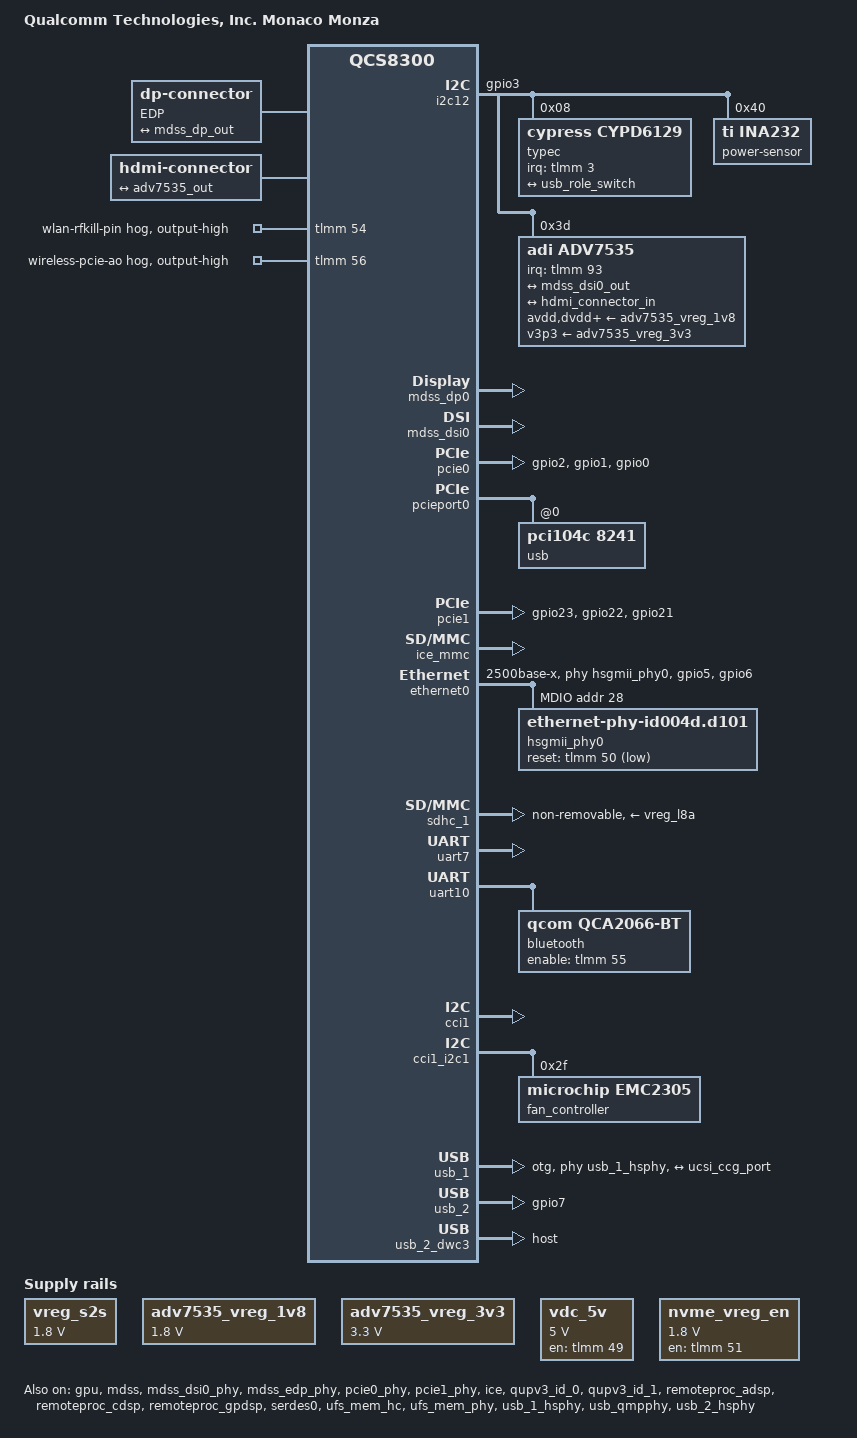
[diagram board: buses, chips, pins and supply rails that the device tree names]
// SPDX-License-Identifier: BSD-3-Clause
/*
 * Copyright (c) Qualcomm Technologies, Inc. and/or its subsidiaries.
 */

/dts-v1/;

#include <dt-bindings/regulator/qcom,rpmh-regulator.h>
#include <dt-bindings/spmi/spmi.h>
#include <dt-bindings/gpio/gpio.h>
#include <dt-bindings/pwm/pwm.h>
#include "qcs8300.dtsi"
#include "qcs8300-thermal.dtsi"
#include "qcs8300-pmics.dtsi"

/delete-node/ &usb_1_dwc3;
/ {
	model = "Qualcomm Technologies, Inc. Monaco Monza";
	compatible = "arduino,monza", "qcom,monaco-monza", "qcom,qcs8300";

	qcom,msm-id = <675 0x10000>;
	qcom,board-id = <0x00010020 4>, <0x00010019 4>;

	aliases {
		ethernet0 = &ethernet0;
		serial0 = &uart7;
		serial1 = &uart10;
		i2c12 = &i2c12;
	};

	chosen {
		stdout-path = "serial0:115200n8";
	};

	vreg_s2s: vreg-s2s {
		compatible = "regulator-fixed";
		regulator-name = "vreg_s2s";

		regulator-min-microvolt = <1800000>;
		regulator-max-microvolt = <1800000>;
	};

	adv7535_vreg_1v8: adv7535_1v8_regulstor {
		compatible = "regulator-fixed";
		regulator-name = "ADV7535_1V8";
		regulator-min-microvolt = <1800000>;
		regulator-max-microvolt = <1800000>;
		regulator-always-on;
		regulator-boot-on;
	};

	adv7535_vreg_3v3: adv7535_3v3_regulstor {
		compatible = "regulator-fixed";
		regulator-name = "ADV7535_3V3";
		regulator-min-microvolt = <3300000>;
		regulator-max-microvolt = <3300000>;
		regulator-always-on;
		regulator-boot-on;
	};

	vdc_5v: vdc-5v {
		compatible = "regulator-fixed";
		regulator-name = "vdc_5v";

		regulator-min-microvolt = <5000000>;
		regulator-max-microvolt = <5000000>;
		gpio = <&tlmm 49 GPIO_ACTIVE_HIGH>;
		enable-active-high;
		regulator-always-on;
	};

	edp-connector {
		compatible = "dp-connector";
		label = "EDP";
		type = "mini";

		port {
			edp_connector_in: endpoint {
				remote-endpoint = <&mdss_dp_out>;
			};
		};
	};

        nvme_vreg_en: nvme_vreg_en {
                compatible = "regulator-fixed";
                regulator-name = "nvme_vreg_en";
                gpio = <&tlmm 51 GPIO_ACTIVE_HIGH>;
                regulator-min-microvolt = <1800000>;
                regulator-max-microvolt = <1800000>;
                enable-active-high;
                regulator-enable-ramp-delay = <10000>;
        };

};

&apps_rsc {
	regulators-0 {
		compatible = "qcom,pmm8654au-rpmh-regulators";
		qcom,pmic-id = "a";

		vreg_l3a: ldo3 {
			regulator-name = "vreg_l3a";
			regulator-min-microvolt = <1200000>;
			regulator-max-microvolt = <1200000>;
			regulator-initial-mode = <RPMH_REGULATOR_MODE_HPM>;
			regulator-allow-set-load;
			regulator-allowed-modes = <RPMH_REGULATOR_MODE_LPM
						   RPMH_REGULATOR_MODE_HPM>;
		};

		vreg_l4a: ldo4 {
			regulator-name = "vreg_l4a";
			regulator-min-microvolt = <880000>;
			regulator-max-microvolt = <912000>;
			regulator-initial-mode = <RPMH_REGULATOR_MODE_HPM>;
			regulator-allow-set-load;
			regulator-allowed-modes = <RPMH_REGULATOR_MODE_LPM
						   RPMH_REGULATOR_MODE_HPM>;
		};

		vreg_l5a: ldo5 {
			regulator-name = "vreg_l5a";
			regulator-min-microvolt = <1200000>;
			regulator-max-microvolt = <1200000>;
			regulator-initial-mode = <RPMH_REGULATOR_MODE_HPM>;
			regulator-allow-set-load;
			regulator-allowed-modes = <RPMH_REGULATOR_MODE_LPM
						   RPMH_REGULATOR_MODE_HPM>;
		};

		vreg_l6a: ldo6 {
			regulator-name = "vreg_l6a";
			regulator-min-microvolt = <880000>;
			regulator-max-microvolt = <912000>;
			regulator-initial-mode = <RPMH_REGULATOR_MODE_HPM>;
			regulator-allow-set-load;
			regulator-allowed-modes = <RPMH_REGULATOR_MODE_LPM
						   RPMH_REGULATOR_MODE_HPM>;
		};

		vreg_l7a: ldo7 {
			regulator-name = "vreg_l7a";
			regulator-min-microvolt = <880000>;
			regulator-max-microvolt = <912000>;
			regulator-initial-mode = <RPMH_REGULATOR_MODE_HPM>;
			regulator-allow-set-load;
			regulator-allowed-modes = <RPMH_REGULATOR_MODE_LPM
						   RPMH_REGULATOR_MODE_HPM>;
		};

		vreg_l8a: ldo8 {
			regulator-name = "vreg_l8a";
			regulator-min-microvolt = <2504000>;
			regulator-max-microvolt = <2960000>;
			regulator-initial-mode = <RPMH_REGULATOR_MODE_HPM>;
			regulator-allow-set-load;
			regulator-allowed-modes = <RPMH_REGULATOR_MODE_LPM
						   RPMH_REGULATOR_MODE_HPM>;
		};

		vreg_l9a: ldo9 {
			regulator-name = "vreg_l9a";
			regulator-min-microvolt = <2970000>;
			regulator-max-microvolt = <3072000>;
			regulator-initial-mode = <RPMH_REGULATOR_MODE_HPM>;
			regulator-allow-set-load;
			regulator-allowed-modes = <RPMH_REGULATOR_MODE_LPM
						   RPMH_REGULATOR_MODE_HPM>;
		};
	};

	regulators-1 {
		compatible = "qcom,pmm8654au-rpmh-regulators";
		qcom,pmic-id = "c";

		vreg_s5c: smps5 {
			regulator-name = "vreg_s5c";
			regulator-min-microvolt = <1104000>;
			regulator-max-microvolt = <1104000>;
			regulator-initial-mode = <RPMH_REGULATOR_MODE_HPM>;
		};

		vreg_l1c: ldo1 {
			regulator-name = "vreg_l1c";
			regulator-min-microvolt = <300000>;
			regulator-max-microvolt = <512000>;
			regulator-initial-mode = <RPMH_REGULATOR_MODE_HPM>;
			regulator-allow-set-load;
			regulator-allowed-modes = <RPMH_REGULATOR_MODE_LPM
						   RPMH_REGULATOR_MODE_HPM>;
		};

		vreg_l2c: ldo2 {
			regulator-name = "vreg_l2c";
			regulator-min-microvolt = <900000>;
			regulator-max-microvolt = <904000>;
			regulator-initial-mode = <RPMH_REGULATOR_MODE_HPM>;
			regulator-allow-set-load;
			regulator-allowed-modes = <RPMH_REGULATOR_MODE_LPM
						   RPMH_REGULATOR_MODE_HPM>;
		};

		vreg_l4c: ldo4 {
			regulator-name = "vreg_l4c";
			regulator-min-microvolt = <1200000>;
			regulator-max-microvolt = <1200000>;
			regulator-initial-mode = <RPMH_REGULATOR_MODE_HPM>;
			regulator-allow-set-load;
			regulator-allowed-modes = <RPMH_REGULATOR_MODE_LPM
						   RPMH_REGULATOR_MODE_HPM>;
		};

		vreg_l7c: ldo7 {
			regulator-name = "vreg_l7c";
			regulator-min-microvolt = <1800000>;
			regulator-max-microvolt = <1800000>;
			regulator-initial-mode = <RPMH_REGULATOR_MODE_HPM>;
			regulator-allow-set-load;
			regulator-allowed-modes = <RPMH_REGULATOR_MODE_LPM
						   RPMH_REGULATOR_MODE_HPM>;
		};

		vreg_l8c: ldo8 {
			regulator-name = "vreg_l8c";
			regulator-min-microvolt = <1800000>;
			regulator-max-microvolt = <1800000>;
			regulator-initial-mode = <RPMH_REGULATOR_MODE_HPM>;
			regulator-allow-set-load;
			regulator-allowed-modes = <RPMH_REGULATOR_MODE_LPM
						   RPMH_REGULATOR_MODE_HPM>;
		};

		vreg_l9c: ldo9 {
			regulator-name = "vreg_l9c";
			regulator-min-microvolt = <1800000>;
			regulator-max-microvolt = <1800000>;
			regulator-initial-mode = <RPMH_REGULATOR_MODE_HPM>;
			regulator-allow-set-load;
			regulator-allowed-modes = <RPMH_REGULATOR_MODE_LPM
						   RPMH_REGULATOR_MODE_HPM>;
		};
	};

	hdmi-connector {
		compatible = "hdmi-connector";
		label = "hdmi";
		type = "a";

		port {
			hdmi_connector_in: endpoint {
				remote-endpoint = <&adv7535_out>;
			};
		};
	};
};

&gpu {
	status = "okay";
};

&gpu_zap_shader {
	firmware-name = "qcom/qcs8300/a623_zap.mbn";
};

&i2c12 {
	pinctrl-0 = <&qup_i2c12_data_clk>, <&usb0_intr_state>;
	pinctrl-names = "default";
	status = "okay";

	typec@8 {
		compatible = "cypress,cypd6129";
		reg = <0x08>;
		interrupt-parent = <&tlmm>;
		interrupts = < 3 IRQ_TYPE_LEVEL_LOW>;
		wakeup-source;

		#address-cells = <1>;
		#size-cells = <0>;
		status = "okay";

		ccg_typec_con0: connector@0 {
			compatible = "usb-c-connector";
			reg = <0>;
			label = "USB-C";
			data-role = "dual";
			power-role = "dual";

			ports {
				#address-cells = <1>;
				#size-cells = <0>;

				port@0 {
					reg = <0>;

					ucsi_ccg_port: endpoint {
						remote-endpoint = <&usb_role_switch>;
					};
				};
			};
		};
	};

	power-sensor@40 {
		compatible = "ti,ina232";
		reg = <0x40>;
		shunt-resistor = <2000>;
		status = "okay";
	};

};

&mdss {
	status = "okay";
};

&mdss_dp0 {
	status = "okay";
};

&mdss_dp_out {
	data-lanes = <0 1 2 3>;
	link-frequencies = /bits/ 64 <1620000000 2700000000 5400000000 8100000000>;

	remote-endpoint = <&edp_connector_in>;
};

&mdss_dsi0 {
	status = "okay";
	vdda-supply = <&vreg_l1c>;
};

&mdss_dsi0_out {
	data-lanes = <0 1 2 3>;
	remote-endpoint = <&adv7535_in>;
};

&mdss_dsi0_phy {
	status = "okay";
	vdds-supply = <&vreg_l4a>;
};

&mdss_edp_phy {
	status = "okay";
};

&pcie0 {
	perst-gpios = <&tlmm 2 GPIO_ACTIVE_LOW>;
	wake-gpios = <&tlmm 0 GPIO_ACTIVE_HIGH>;

        iommu-map = <0x0 &pcie_smmu 0x0000 0x1>,
                    <0x100 &pcie_smmu 0x0001 0x1>,
                    <0x200 &pcie_smmu 0x0007 0x1>,
                    <0x208 &pcie_smmu 0x0002 0x1>,
                    <0x210 &pcie_smmu 0x0003 0x1>,
                    <0x218 &pcie_smmu 0x0004 0x1>,
                    <0x300 &pcie_smmu 0x0005 0x1>,
                    <0x400 &pcie_smmu 0x0006 0x1>;

	pinctrl-names = "default";
	pinctrl-0 = <&pcie0_default_state>;

	status = "okay";

};

&pcieport0 {
	pci@0,0 {
		#address-cells = <3>;
		#size-cells = <2>;
		device_type = "pci";
		bus-range = <0x01 0xff>;
		ranges;
		reg = <0x010000 0x00 0x00 0x00 0x00>;

		pci@1,0 {
			#address-cells = <3>;
			#size-cells = <2>;
			device_type = "pci";
			bus-range = <0x00 0xff>;
			ranges;
			reg = <0x20800 0x00 0x00 0x00 0x00>;
		};

		pci@2,0 {
			#address-cells = <3>;
			#size-cells = <2>;
			device_type = "pci";
			bus-range = <0x00 0xff>;
			ranges;
			reg = <0x021000 0x00 0x00 0x00 0x00>;

			usb@0 {
				compatible = "pci104c,8241";
				reg = <0 0 0 0 0>;
				ti,pwron-active-high;
			};
		};
	};
};

&pcie0_phy {
	vdda-phy-supply = <&vreg_l6a>;
	vdda-pll-supply = <&vreg_l5a>;

	status = "okay";
};

&pcie1 {
	vdda-supply = <&nvme_vreg_en>;
	perst-gpios = <&tlmm 23 GPIO_ACTIVE_LOW>;
	wake-gpios = <&tlmm 21 GPIO_ACTIVE_HIGH>;

	pinctrl-names = "default";
	pinctrl-0 = <&pcie1_default_state>;

	status = "okay";
};

&pcie1_phy {
	vdda-phy-supply = <&vreg_l6a>;
	vdda-pll-supply = <&vreg_l4a>;

	status = "okay";
};

&i2c12 {
	status = "okay";

	adv7535: hdmi@3d {
		compatible = "adi,adv7535";
		reg = <0x3d>;

		interrupt-parent = <&tlmm>;
		interrupts = <93 IRQ_TYPE_EDGE_FALLING>;

		pinctrl-names = "default";
		pinctrl-0 = <&hdmi_conv_int_pins>;

		adi,dsi-lanes = <4>;
		avdd-supply = <&adv7535_vreg_1v8>;
		dvdd-supply = <&adv7535_vreg_1v8>;
		pvdd-supply = <&adv7535_vreg_1v8>;
		a2vdd-supply = <&adv7535_vreg_1v8>;
		v3p3-supply = <&adv7535_vreg_3v3>;
		v1p2-supply = <&adv7535_vreg_1v8>;

		ports {
			#address-cells = <1>;
			#size-cells = <0>;

			port@0 {
				reg = <0>;

				adv7535_in: endpoint {
					remote-endpoint = <&mdss_dsi0_out>;
				};
			};

			port@1 {
				reg = <1>;

				adv7535_out: endpoint {
					remote-endpoint = <&hdmi_connector_in>;
				};
			};
		};
	};
};

&ice {
	status = "okay";
};

&ice_mmc {
	status = "okay";
};

&pmm8650au_1_gpios {
	usb2_en_state: usb2-en-state {
	       pins = "gpio7";
	       function = "normal";
	       output-high;
	       power-source = <0>;
	};
};

&qup_i2c12_data_clk {
	drive-strength = <2>;
	bias-pull-up;
};

&qup_i2c12_data_clk {
	drive-strength = <2>;
	bias-pull-up;
};

&qupv3_id_0 {
	firmware-name = "qcom/qcs8300/qupv3fw.elf";
	status = "okay";
};

&qupv3_id_1 {
	firmware-name = "qcom/qcs8300/qupv3fw.elf";
	status = "okay";
};

&remoteproc_adsp {
	firmware-name = "qcom/qcs8300/adsp.mbn";

	status = "okay";
};

&remoteproc_cdsp {
	firmware-name = "qcom/qcs8300/cdsp0.mbn";

	status = "okay";
};

&remoteproc_gpdsp {
	firmware-name = "qcom/qcs8300/gpdsp0.mbn";

	status = "okay";
};

&ethernet0 {
	phy-mode = "2500base-x";
	phy-handle = <&hsgmii_phy0>;

	pinctrl-0 = <&ethernet0_default>;
	pinctrl-names = "default";

	snps,mtl-rx-config = <&mtl_rx_setup>;
	snps,mtl-tx-config = <&mtl_tx_setup>;

	status = "okay";

	mdio {
		compatible = "snps,dwmac-mdio";
		#address-cells = <1>;
		#size-cells = <0>;

		hsgmii_phy0: phy@1c {
			compatible = "ethernet-phy-id004d.d101";
			reg = <0x1c>;
			reset-gpios = <&tlmm 50 GPIO_ACTIVE_LOW>;
			reset-assert-us = <11000>;
			reset-deassert-us = <70000>;
		};
	};

	mtl_rx_setup: rx-queues-config {
		snps,rx-queues-to-use = <4>;
		snps,rx-sched-sp;

		queue0 {
			snps,dcb-algorithm;
			snps,map-to-dma-channel = <0x0>;
			snps,route-up;
			snps,priority = <0x1>;
		};

		queue1 {
			snps,dcb-algorithm;
			snps,map-to-dma-channel = <0x1>;
			snps,route-ptp;
		};

		queue2 {
			snps,avb-algorithm;
			snps,map-to-dma-channel = <0x2>;
			snps,route-avcp;
		};

		queue3 {
			snps,avb-algorithm;
			snps,map-to-dma-channel = <0x3>;
			snps,priority = <0xc>;
		};
	};

	mtl_tx_setup: tx-queues-config {
		snps,tx-queues-to-use = <4>;
		snps,tx-sched-sp;

		queue0 {
			snps,dcb-algorithm;
		};

		queue1 {
			snps,dcb-algorithm;
		};

		queue2 {
			snps,avb-algorithm;
			snps,send_slope = <0x1000>;
			snps,idle_slope = <0x1000>;
			snps,high_credit = <0x3e800>;
			snps,low_credit = <0xffc18000>;
		};

		queue3 {
			snps,avb-algorithm;
			snps,send_slope = <0x1000>;
			snps,idle_slope = <0x1000>;
			snps,high_credit = <0x3e800>;
			snps,low_credit = <0xffc18000>;
		};
	};
};

&sdc1_clk {
	bias-disable;
	drive-strength = <16>;
};

&gpi_dma0 {
	status = "okay";
};

&gpi_dma1 {
	status = "okay";
};

&sdc1_cmd {
	bias-pull-up;
	drive-strength = <10>;
};

&sdc1_data {
	bias-pull-up;
	drive-strength = <10>;
};

&sdc1_rclk {
	bias-pull-down;
};

&sdhc_1 {
	vmmc-supply = <&vreg_l8a>;
	vqmmc-supply = <&vreg_s2s>;

	no-sd;
	no-sdio;
	non-removable;

	pinctrl-names = "default", "sleep";
	pinctrl-0 = <&sdc1_clk>, <&sdc1_cmd>, <&sdc1_data>;
	pinctrl-1 = <&sdc1_clk_sleep>, <&sdc1_cmd_sleep>, <&sdc1_data_sleep>;

	status = "okay";
};

&serdes0 {
	phy-supply = <&vreg_l5a>;
	status = "okay";
};
&thermal_zones {
	cpuss-0-0-thermal {
		trips {
			cpuss0_active: cpuss-active {
				temperature = <38000>;
				hysteresis = <3000>;
				type = "active";
			};
		};

		cooling-maps {
			map-active {
				trip = <&cpuss0_active>;
				cooling-device = <&fan 4 THERMAL_NO_LIMIT>;
			};
		};
	};
};

&tlmm {
	dp_hot_plug_det: dp-hot-plug-det-state {
		pins = "gpio94";
		function = "edp0_hot";
		bias-disable;
	};

	hdmi_conv_int_pins: hdmi-conv-int-pins {
		pins = "gpio93";
		function = "gpio";
		input-enable;
		bias-pull-up;
	};

	pcie0_default_state: pcie0-default-state {
		perst-pins {
			pins = "gpio2";
			function = "gpio";
			drive-strength = <2>;
			bias-pull-down;
		};

		clkreq-pins {
			pins = "gpio1";
			function = "pcie0_clkreq";
			drive-strength = <2>;
			bias-pull-up;
		};

		wake-pins {
			pins = "gpio0";
			function = "gpio";
			drive-strength = <2>;
			bias-pull-up;
		};
	};

	pcie1_default_state: pcie1-default-state {
		perst-pins {
			pins = "gpio23";
			function = "gpio";
			drive-strength = <2>;
			bias-pull-down;
		};

		clkreq-pins {
			pins = "gpio22";
			function = "pcie1_clkreq";
			drive-strength = <2>;
			bias-pull-up;
		};

		wake-pins {
			pins = "gpio21";
			function = "gpio";
			drive-strength = <2>;
			bias-pull-up;
		};
	};

	ethernet0_default: ethernet0-default-state {
		ethernet0_mdc: ethernet0-mdc-pins {
			pins = "gpio5";
			function = "emac0_mdc";
			drive-strength = <16>;
			bias-pull-up;
		};

		ethernet0_mdio: ethernet0-mdio-pins {
			pins = "gpio6";
			function = "emac0_mdio";
			drive-strength = <16>;
			bias-pull-up;
		};
	};

	wcn_usb_bt_n: wcn-usb-bt-n-state {
		pins = "gpio55";
		function = "gpio";
		drive-strength = <2>;
		bias-disable;
		output-high;
	};

	wlan_rfkill_pin: wlan-rfkill-pin {
		gpio-hog;
		gpios = <54 GPIO_ACTIVE_HIGH>;
		output-high;
		line-name = "wlan-rfkill-pin";
	};

	usb0_intr_state: usb0-intr-state {
		 pins = "gpio3";
		 drive-strength = <16>;
		 bias-pull-up;
	};

	wireless-pcie-ao {
		gpio-hog;
		gpios = <56 0>;
		output-high;
	};
};

&uart7 {
	status = "okay";
};

&uart10 {
	status = "okay";
	bluetooth: bluetooth {
		compatible = "qcom,qca2066-bt";
		max-speed = <3200000>;
		enable-gpios = <&tlmm 55 GPIO_ACTIVE_HIGH>;
		status = "okay";
	};
};

&cci1 {
        status = "okay";
};
&cci1_i2c1 {
        #address-cells = <1>;
        #size-cells = <0>;

        fan_controller: fan-controller@2f {
                compatible = "microchip,emc2305";
                reg = <0x2f>;
                #address-cells = <1>;
                #size-cells = <0>;
                #pwm-cells = <3>;

                fan: fan@0 {
                        reg = <0x0>;
                        pwms = <&fan_controller 26000 PWM_POLARITY_INVERTED 1>;
                        #cooling-cells = <2>;
                };
        };
};

&ufs_mem_hc {
	reset-gpios = <&tlmm 133 GPIO_ACTIVE_LOW>;
	vcc-supply = <&vreg_l8a>;
	vcc-max-microamp = <1100000>;
	vccq-supply = <&vreg_l4c>;
	vccq-max-microamp = <1200000>;
	status = "okay";
};

&ufs_mem_phy {
	vdda-phy-supply = <&vreg_l4a>;
	vdda-pll-supply = <&vreg_l5a>;
	status = "okay";
};

&usb_1 {
	reg = <0x0 0x0a600000 0x0 0x20000>;

	interrupts-extended = <&intc GIC_SPI 292 IRQ_TYPE_LEVEL_HIGH>,
		<&intc GIC_SPI 131 IRQ_TYPE_LEVEL_HIGH>,
		<&pdc 14 IRQ_TYPE_EDGE_BOTH>,
		<&pdc 15 IRQ_TYPE_EDGE_BOTH>,
		<&pdc 12 IRQ_TYPE_LEVEL_HIGH>;
	interrupt-names = "dwc_usb3",
		"pwr_event",
		"dp_hs_phy_irq",
		"dm_hs_phy_irq",
		"ss_phy_irq";

	iommus = <&apps_smmu 0x80 0x0>;
	snps,dis_u2_susphy_quirk;
	snps,dis_enblslpm_quirk;
	phys = <&usb_1_hsphy>, <&usb_qmpphy>;
	phy-names = "usb2-phy", "usb3-phy";
	maximum-speed = "super-speed-plus";

	usb-role-switch;
	dr_mode = "otg";

	qcom,enable-rt;
	wakeup-source;
	status = "okay";

	ports {

		#address-cells = <1>;
		#size-cells = <0>;

		port@0 {
			reg = <0>;
				usb_role_switch: endpoint {
					remote-endpoint = <&ucsi_ccg_port>;
			};
		};
	};
};

&usb_1_hsphy {
	vdda-pll-supply = <&vreg_l7a>;
	vdda18-supply = <&vreg_l7c>;
	vdda33-supply = <&vreg_l9a>;

	status = "okay";
};

&usb_qmpphy {
	vdda-phy-supply = <&vreg_l7a>;
	vdda-pll-supply = <&vreg_l5a>;

	status = "okay";
};

&usb_2 {
	pinctrl-names = "default";
	pinctrl-0 = <&usb2_en_state>;

	status = "okay";
};

&usb_2_dwc3 {
	dr_mode = "host";
};

&usb_2_hsphy {
	vdda-pll-supply = <&vreg_l7a>;
	vdda18-supply = <&vreg_l7c>;
	vdda33-supply = <&vreg_l9a>;

	status = "okay";
};
